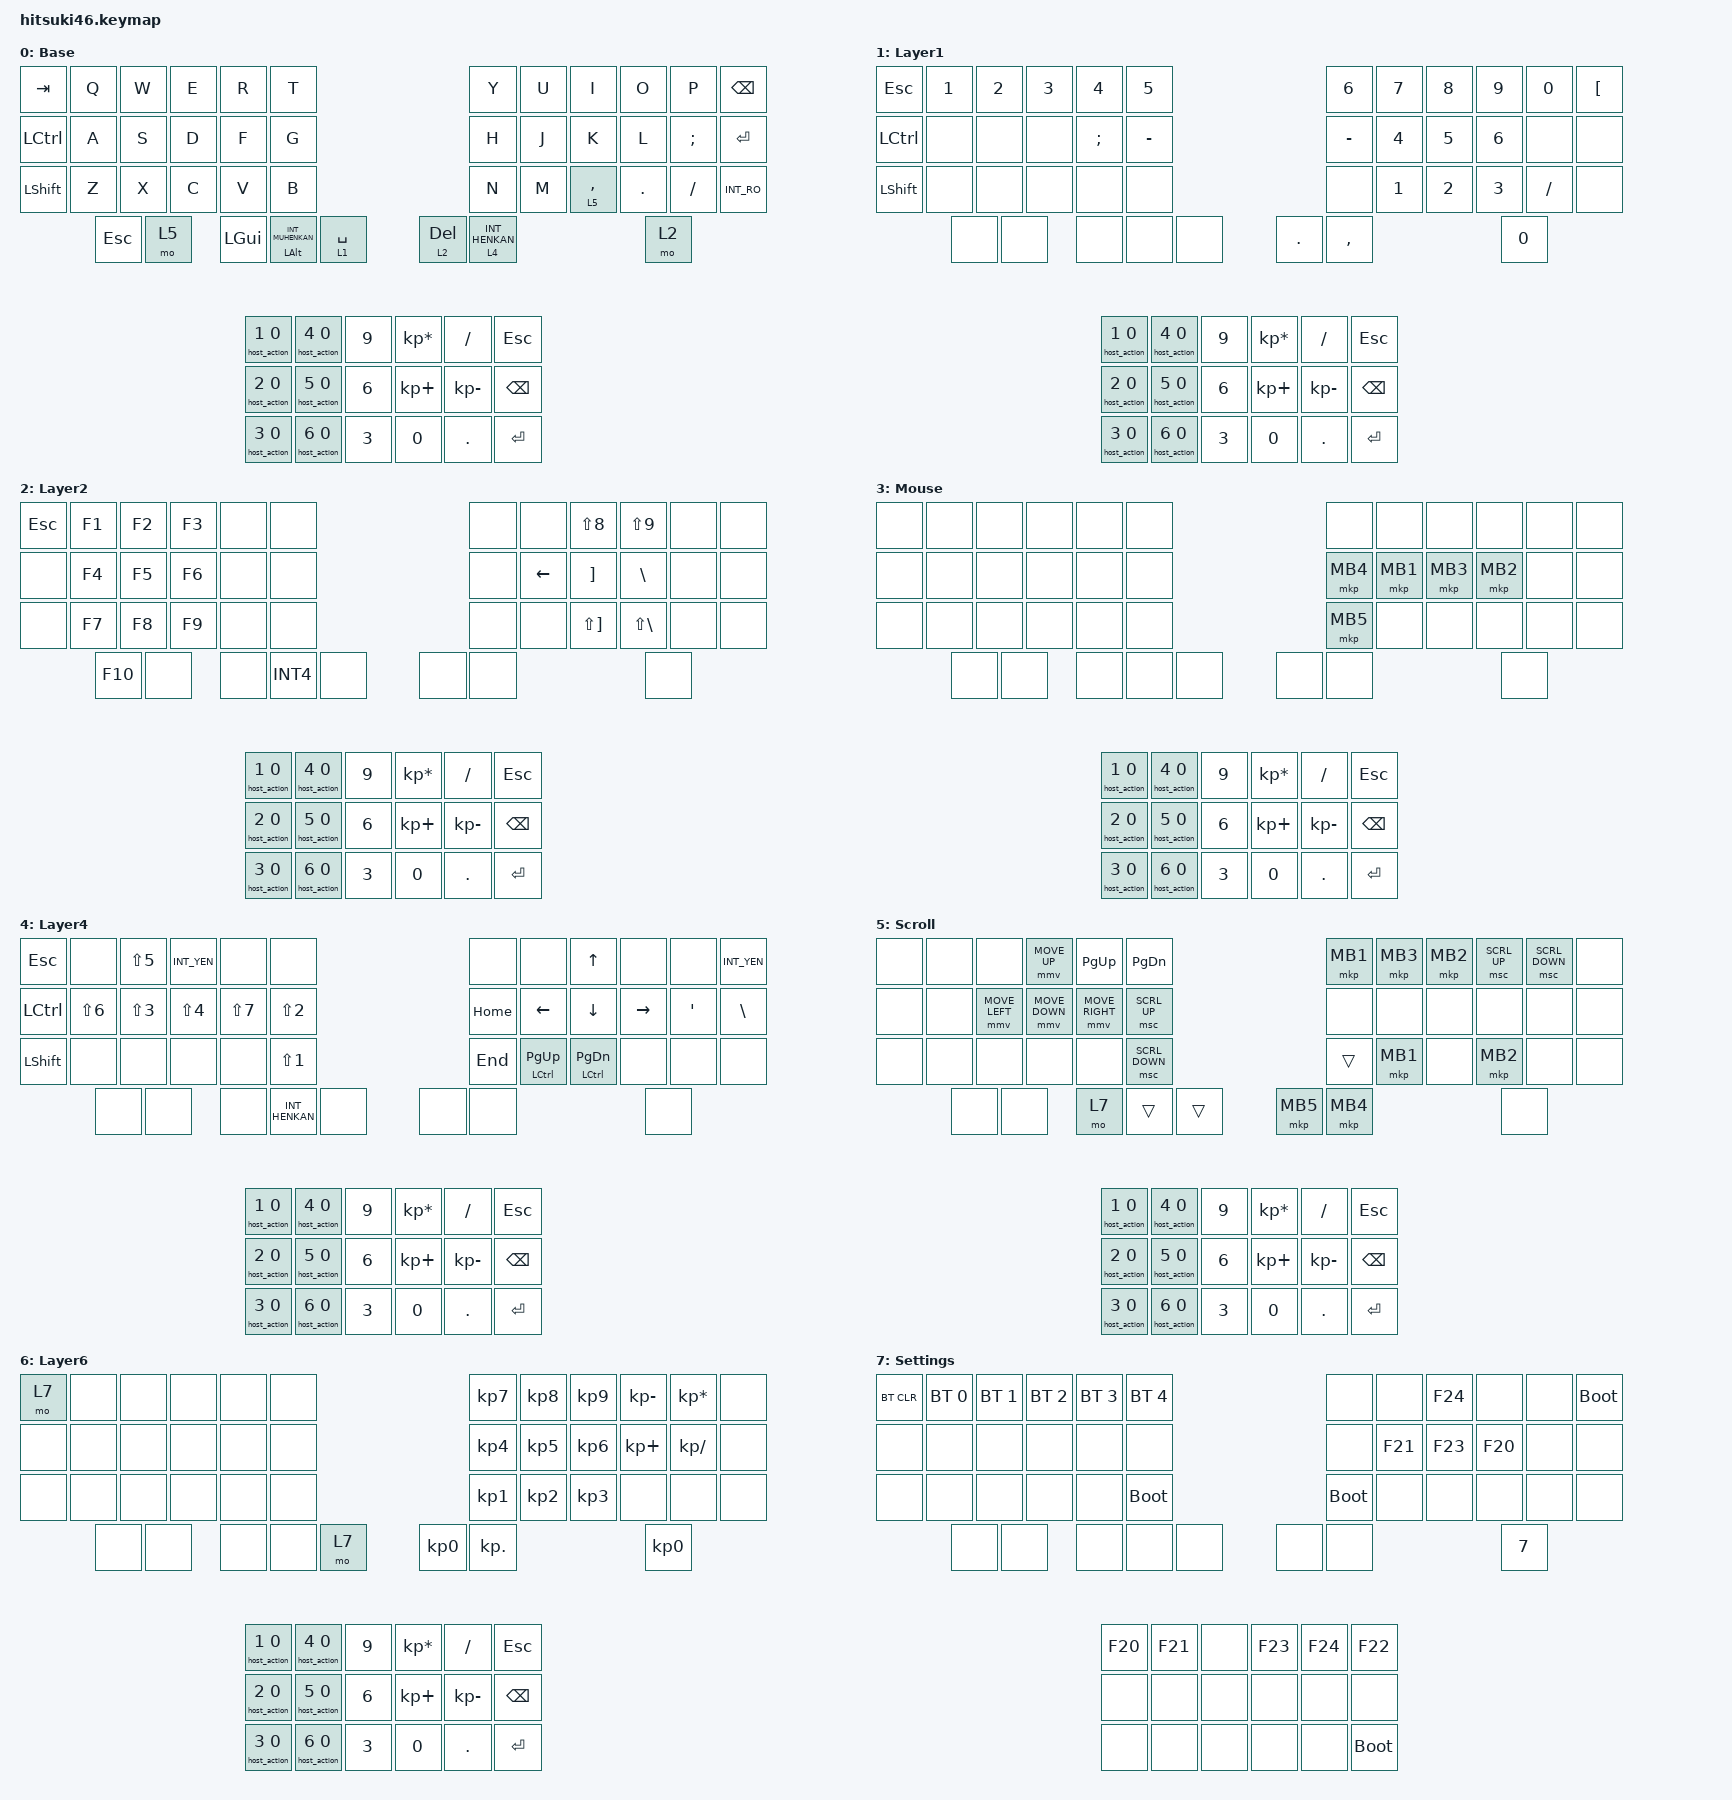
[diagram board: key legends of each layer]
#include <behaviors.dtsi>
#include <behaviors/host_action.dtsi>
#include <dt-bindings/zmk/bt.h>
#include <dt-bindings/zmk/keys.h>
#include <dt-bindings/zmk/pointing.h>

/ {
    behaviors {
        lt: layer_tap {
            compatible = "zmk,behavior-hold-tap";
            #binding-cells = <2>;
            bindings = <&mo>, <&kp>;

            flavor = "hold-preferred";
            tapping-term-ms = <250>;
            quick-tap-ms = <200>;
        };
    };

    combos {
        compatible = "zmk,combos";

        Settings {
            bindings = <&mo 7>;
            key-positions = <36 37>;
        };
    };

    keymap {
        compatible = "zmk,keymap";

        default_layer {
            display-name = "Base";
            bindings = <
                &kp TAB     &kp Q    &kp W  &kp E    &kp R                 &kp T        &kp Y      &kp U            &kp I       &kp O     &kp P     &kp BSPC
                &kp LCTRL   &kp A    &kp S  &kp D    &kp F                 &kp G        &kp H      &kp J            &kp K       &kp L     &kp SEMI  &kp ENTER
                &kp LSHIFT  &kp Z    &kp X  &kp C    &kp V                 &kp B        &kp N      &kp M            &lt 5 COMMA &kp DOT   &kp SLASH &kp INT_RO
                            &kp ESC  &mo 5  &kp LGUI  &mt LALT INT_MUHENKAN  &lt 1 SPACE  &lt 2 DEL  &lt 4 INT_HENKAN  &mo 2
                &host_action 1 0      &host_action 4 0  &kp N9  &kp KP_MULTIPLY                         &kp SLASH     &kp ESC
                &host_action 2 0      &host_action 5 0  &kp N6  &kp KP_PLUS                             &kp KP_MINUS  &kp BSPC
                &host_action 3 0      &host_action 6 0  &kp N3  &kp N0                                  &kp DOT       &kp ENTER
            >;
        };

        layer_1 {
            display-name = "Layer1";
            bindings = <
                &kp ESC     &kp N1  &kp N2  &kp N3  &kp N4    &kp N5       &kp N6    &kp N7    &kp N8  &kp N9   &kp N0    &kp LBKT
                &kp LCTRL   &none   &none   &none   &kp SEMI  &kp MINUS    &kp MINUS &kp N4    &kp N5  &kp N6   &none     &none
                &kp LSHIFT  &none   &none   &none   &none     &none        &none     &kp N1    &kp N2  &kp N3   &kp SLASH &none
                            &none  &none  &none  &none  &none  &kp DOT  &kp COMMA  &kp N0
                &host_action 1 0      &host_action 4 0  &kp N9  &kp KP_MULTIPLY                         &kp SLASH     &kp ESC
                &host_action 2 0      &host_action 5 0  &kp N6  &kp KP_PLUS                             &kp KP_MINUS  &kp BSPC
                &host_action 3 0      &host_action 6 0  &kp N3  &kp N0                                  &kp DOT       &kp ENTER
           >;
        };

        layer_2 {
            display-name = "Layer2";
            bindings = <
                &kp ESC  &kp F1   &kp F2  &kp F3  &none    &none     &none  &none    &kp LS(N8)   &kp LS(N9)      &none  &none
                &none    &kp F4   &kp F5  &kp F6  &none    &none     &none  &kp LEFT &kp RBKT     &kp BACKSLASH   &none  &none
                &none    &kp F7   &kp F8  &kp F9  &none    &none     &none  &none    &kp LS(RBKT) &kp LS(BSLH)    &none  &none
                         &kp F10  &none  &none  &kp INT4  &none  &none  &none  &none
                &host_action 1 0      &host_action 4 0  &kp N9  &kp KP_MULTIPLY                         &kp SLASH     &kp ESC
                &host_action 2 0      &host_action 5 0  &kp N6  &kp KP_PLUS                             &kp KP_MINUS  &kp BSPC
                &host_action 3 0      &host_action 6 0  &kp N3  &kp N0                                  &kp DOT       &kp ENTER
            >;
        };

        layer_3 {
            display-name = "Mouse";
            bindings = <
                &none  &none  &none  &none  &none  &none     &none  &none     &none     &none     &none  &none
                &none  &none  &none  &none  &none  &none     &mkp MB4  &mkp MB1  &mkp MB3  &mkp MB2  &none  &none
                &none  &none  &none  &none  &none  &none     &mkp MB5  &none     &none     &none     &none  &none
                       &none  &none  &none  &none  &none  &none  &none  &none
                &host_action 1 0      &host_action 4 0  &kp N9  &kp KP_MULTIPLY                         &kp SLASH     &kp ESC
                &host_action 2 0      &host_action 5 0  &kp N6  &kp KP_PLUS                             &kp KP_MINUS  &kp BSPC
                &host_action 3 0      &host_action 6 0  &kp N3  &kp N0                                  &kp DOT       &kp ENTER
            >;
        };

        layer_4 {
            display-name = "Layer4";
            bindings = <
                &kp ESC     &none       &kp LS(N5)  &kp INT_YEN  &none          &none         &none     &none           &kp UP          &none      &none     &kp INT_YEN
                &kp LCTRL   &kp LS(N6)  &kp LS(N3)  &kp LS(N4)   &kp LS(N7)     &kp LS(N2)    &kp HOME  &kp LEFT        &kp DOWN        &kp RIGHT  &kp APOS  &kp BACKSLASH
                &kp LSHIFT  &none       &none       &none        &none          &kp LS(N1)    &kp END   &mt LCTRL PG_UP &mt LCTRL PG_DN &none      &none     &none
                            &none  &none  &none  &kp INT_HENKAN  &none  &none  &none  &none
                &host_action 1 0      &host_action 4 0  &kp N9  &kp KP_MULTIPLY                         &kp SLASH     &kp ESC
                &host_action 2 0      &host_action 5 0  &kp N6  &kp KP_PLUS                             &kp KP_MINUS  &kp BSPC
                &host_action 3 0      &host_action 6 0  &kp N3  &kp N0                                  &kp DOT       &kp ENTER
            >;
        };

        layer_5 {
            display-name = "Scroll";
            bindings = <
                &none  &none  &none          &mmv MOVE_UP    &kp PAGE_UP     &kp PAGE_DOWN   &mkp MB1  &mkp MB3  &mkp MB2  &msc SCRL_UP  &msc SCRL_DOWN  &none
                &none  &none  &mmv MOVE_LEFT &mmv MOVE_DOWN  &mmv MOVE_RIGHT &msc SCRL_UP    &none     &none     &none     &none         &none           &none
                &none  &none  &none          &none           &none           &msc SCRL_DOWN  &trans    &mkp MB1  &none     &mkp MB2      &none           &none
                       &none  &none  &mo 7  &trans  &trans  &mkp MB5  &mkp MB4  &none
                &host_action 1 0      &host_action 4 0  &kp N9  &kp KP_MULTIPLY                         &kp SLASH     &kp ESC
                &host_action 2 0      &host_action 5 0  &kp N6  &kp KP_PLUS                             &kp KP_MINUS  &kp BSPC
                &host_action 3 0      &host_action 6 0  &kp N3  &kp N0                                  &kp DOT       &kp ENTER
            >;
        };

        layer_6 {
            display-name = "Layer6";
            bindings = <
                &mo 7  &none  &none  &none  &none  &none     &kp KP_N7       &kp KP_N8       &kp KP_N9  &kp KP_MINUS  &kp KP_MULTIPLY  &none
                &none  &none  &none  &none  &none  &none     &kp KP_NUMBER_4 &kp KP_NUMBER_5 &kp KP_N6  &kp KP_PLUS   &kp KP_DIVIDE    &none
                &none  &none  &none  &none  &none  &none     &kp KP_NUMBER_1 &kp KP_NUMBER_2 &kp KP_N3  &none         &none            &none
                       &none  &none  &none  &none  &mo 7  &kp KP_N0  &kp KP_DOT  &kp KP_N0
                &host_action 1 0      &host_action 4 0  &kp N9  &kp KP_MULTIPLY                         &kp SLASH     &kp ESC
                &host_action 2 0      &host_action 5 0  &kp N6  &kp KP_PLUS                             &kp KP_MINUS  &kp BSPC
                &host_action 3 0      &host_action 6 0  &kp N3  &kp N0                                  &kp DOT       &kp ENTER
            >;
        };

        layer_7 {
            display-name = "Settings";
            bindings = <
                &bt BT_CLR  &bt BT_SEL 0  &bt BT_SEL 1  &bt BT_SEL 2  &bt BT_SEL 3  &bt BT_SEL 4    &none        &none    &kp F24  &none    &none  &bootloader
                &none          &none         &none         &none         &none         &none           &none        &kp F21  &kp F23  &kp F20  &none  &none
                &none       &none         &none         &none         &none         &bootloader     &bootloader  &none  &none   &none  &none  &none
                            &none  &none  &none  &none  &none  &none  &none  &kp N7
                &kp F20     &kp F21       &none         &kp F23              &kp F24       &kp F22
                &none       &none         &none         &none                &none         &none
                &none       &none         &none         &none                &none         &bootloader
            >;
        };
    };
};
